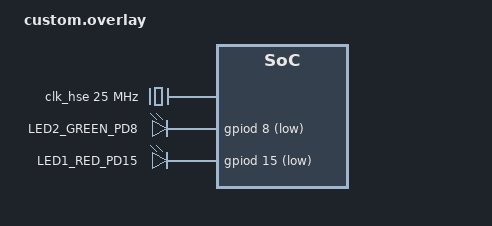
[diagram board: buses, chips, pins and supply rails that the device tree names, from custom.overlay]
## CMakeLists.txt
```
# SPDX-License-Identifier: Apache-2.0

cmake_minimum_required(VERSION 3.20.0)

find_package(Zephyr REQUIRED HINTS $ENV{ZEPHYR_BASE})
project(hello_world)

# Define HSE value for custom board (25 MHz). Replace if your board uses a different value.
zephyr_compile_definitions(HSE_VALUE=25000000)

target_sources(app PRIVATE src/main.c)
```

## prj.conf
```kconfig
CONFIG_GPIO=y
CONFIG_PRINTK=y
CONFIG_CONSOLE=y
CONFIG_UART_CONSOLE=y
CONFIG_EARLY_CONSOLE=y
```

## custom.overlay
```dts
&clk_hse {
	/delete-property/ hse-bypass;
	clock-frequency = <DT_FREQ_M(25)>;
	status = "okay";
};

&pll {
    div-m = <16>;
    mul-n = <125>;
    div-p = <1>;
    div-q = <1>;
    clocks = <&clk_hse>;
    status = "okay";
};

&rcc {
	clocks = <&pll>;
	clock-frequency = <DT_FREQ_M(195)>; 
	d1cpre = <1>;
	hpre   = <2>;
	d1ppre = <2>;
	d2ppre1 = <2>;
	d2ppre2 = <2>;
	d3ppre  = <2>;
};

/* 2) Blink both candidate LEDs: PD8 (GREEN), PD15 (RED) */
&{/} {
	aliases { led0 = &led_green; led1 = &led_red; };

	leds {
		compatible = "gpio-leds";

		led_green: led_green {
			gpios = <&gpiod 8 GPIO_ACTIVE_LOW>;   /* PD8 -> LED2 via R59 */
			label = "LED2_GREEN_PD8";
		};

		led_red: led_red {
			gpios = <&gpiod 15 GPIO_ACTIVE_LOW>;  /* PD15 -> LED1 via R61 */
			label = "LED1_RED_PD15";
		};
	};
};
```

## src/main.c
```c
#include <zephyr/kernel.h>
#include <zephyr/drivers/gpio.h>

static const struct gpio_dt_spec led0 = GPIO_DT_SPEC_GET(DT_ALIAS(led0), gpios);
static const struct gpio_dt_spec led1 = GPIO_DT_SPEC_GET(DT_ALIAS(led1), gpios);

static void init_led(const struct gpio_dt_spec *l) {
	if (!device_is_ready(l->port)) return;
	gpio_pin_configure_dt(l, GPIO_OUTPUT_INACTIVE); /* inactive = off (active-low) */
}

int main(void)
{
	init_led(&led0);
	init_led(&led1);

	while (1) {
		gpio_pin_toggle_dt(&led0);
		gpio_pin_toggle_dt(&led1);
		k_msleep(250);
	}
}
```
